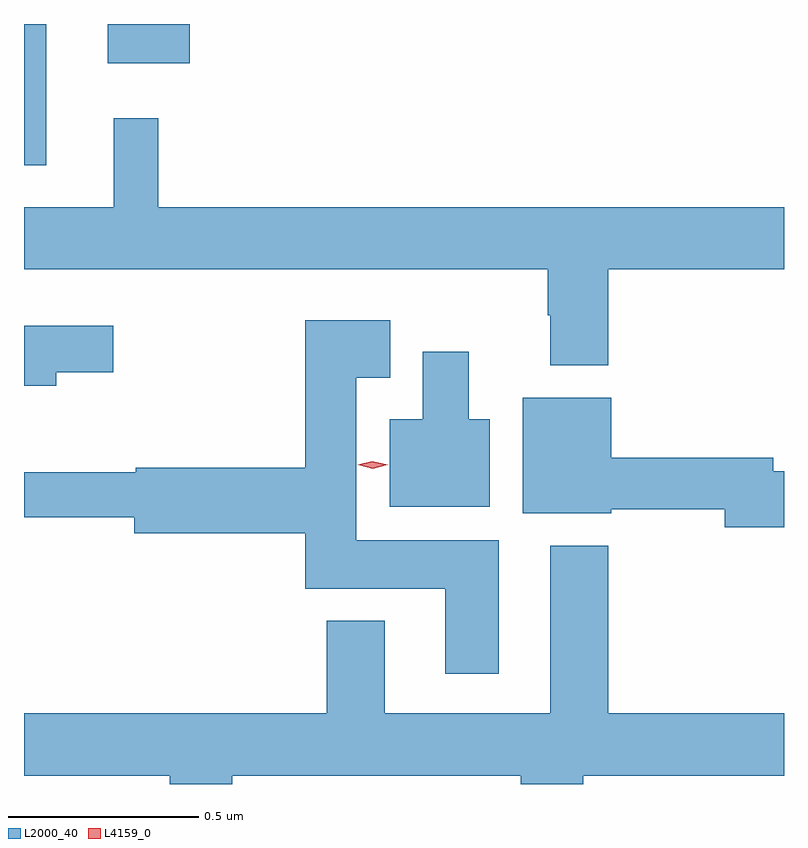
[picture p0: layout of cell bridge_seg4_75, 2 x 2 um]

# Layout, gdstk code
import gdstk
lib = gdstk.Library(unit=1e-6, precision=1e-09)
def R(c, l, rs):  # rectangles x0, y0, x1, y1
    for r in rs: c.add(gdstk.rectangle(r[:2], r[2:], *l))
def P(c, l, *ps):  # polygons
    for p in ps: c.add(gdstk.Polygon(p, *l))
L2000_40 = (2000, 40)
L4159_0 = (4159, 0)

bridge_seg4_75 = lib.new_cell('bridge_seg4_75')
R(bridge_seg4_75, L2000_40, [(496.056,819.738,496.114,820.11), (496.277,820.007,496.492,820.11)])
P(bridge_seg4_75, L2000_40, [(496.409,819.862),(496.292,819.862),(496.292,819.628),(496.056,819.628),(496.056,819.464),(497.434,819.464),(497.434,819.344),(497.441,819.344),(497.441,819.212),(497.594,819.212),(497.594,819.464),(498.056,819.464),(498.056,819.628),(496.409,819.628)],
  [(497.305,818.752),(496.93,818.752),(496.93,819.179),(497.02,819.179),(497.02,819.331),(496.796,819.331),(496.796,818.942),(496.35,818.942),(496.35,818.931),(496.056,818.931),(496.056,818.812),(496.346,818.812),(496.346,818.77),(496.796,818.77),(496.796,818.624),(497.165,818.624),(497.165,818.4),(497.305,818.4)],
  [(496.141,819.194),(496.291,819.194),(496.291,819.316),(496.056,819.316),(496.056,819.158),(496.141,819.158)],
  [(497.281,819.07),(497.227,819.07),(497.227,819.247),(497.105,819.247),(497.105,819.07),(497.018,819.07),(497.018,818.84),(497.281,818.84)],
  [(498.056,818.933),(498.028,818.933),(498.028,818.969),(497.602,818.969),(497.602,819.127),(497.369,819.127),(497.369,818.822),(497.602,818.822),(497.602,818.833),(497.9,818.833),(497.9,818.786),(498.056,818.786)],
  [(496.604,818.132),(497.363,818.132),(497.363,818.11),(497.528,818.11),(497.528,818.132),(498.056,818.132),(498.056,818.296),(497.594,818.296),(497.594,818.737),(497.441,818.737),(497.441,818.296),(497.005,818.296),(497.005,818.539),(496.853,818.539),(496.853,818.296),(496.056,818.296),(496.056,818.132),(496.439,818.132),(496.439,818.11),(496.604,818.11)])
P(bridge_seg4_75, L4159_0, [(496.974,818.94),(496.934,818.95),(496.934,818.95),(496.934,818.95),(496.973,818.96),(497.013,818.95),(497.013,818.95),(497.013,818.95)])

lib.write_gds('bridge_seg4_75.gds')
